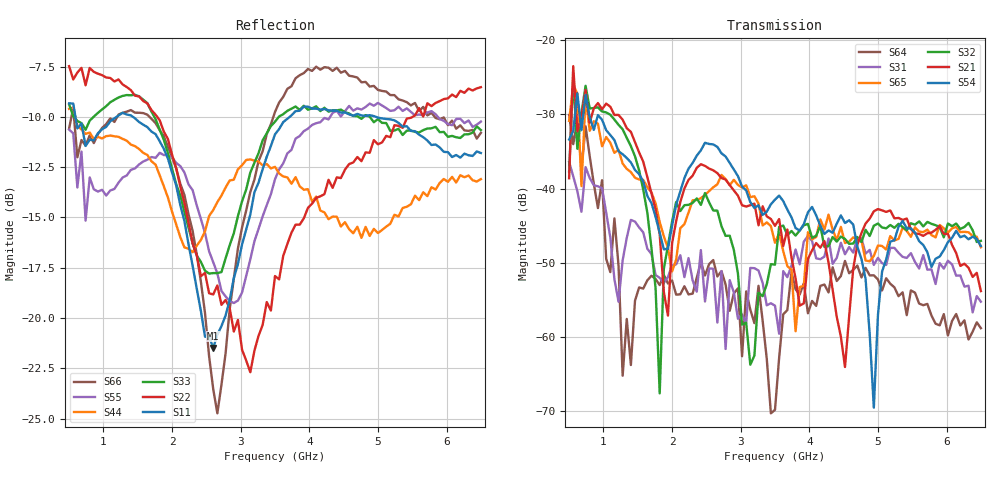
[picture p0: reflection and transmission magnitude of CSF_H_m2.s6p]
!Keysight Technologies,M9804A,MY58100912,A.14.10.03
!Date: Thursday, April 27, 2023 10:28:33
!Correction: S11(C  6-Port  )
!S12(C  6-Port  )
!S13(C  6-Port  )
!S14(C  6-Port  )
!S15(C  6-Port  )
!S16(C  6-Port  )
!S21(C  6-Port  )
!S22(C  6-Port  )
!S23(C  6-Port  )
!S24(C  6-Port  )
!S25(C  6-Port  )
!S26(C  6-Port  )
!S31(C  6-Port  )
!S32(C  6-Port  )
!S33(C  6-Port  )
!S34(C  6-Port  )
!S35(C  6-Port  )
!S36(C  6-Port  )
!S41(C  6-Port  )
!S42(C  6-Port  )
!S43(C  6-Port  )
!S44(C  6-Port  )
!S45(C  6-Port  )
!S46(C  6-Port  )
!S51(C  6-Port  )
!S52(C  6-Port  )
!S53(C  6-Port  )
!S54(C  6-Port  )
!S55(C  6-Port  )
!S56(C  6-Port  )
!S61(C  6-Port  )
!S62(C  6-Port  )
!S63(C  6-Port  )
!S64(C  6-Port  )
!S65(C  6-Port  )
!S66(C  6-Port  )
!S6P File: Measurement: :
# Hz S  RI  R 50
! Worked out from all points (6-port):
!   101 points, 500 MHz to 6.5 GHz, reference 50 ohm
!   strongest paths, dB at 500 MHz, 2 GHz, 3.5 GHz, 5 GHz, 6.5 GHz:
!     S54: -33.4, -45.0, -41.5, -57.1, -47.8
!     S21: -38.6, -47.4, -45.0, -42.8, -53.8
!     S32: -37.7, -44.5, -50.3, -44.7, -47.0
!     S65: -30.9, -51.2, -47.3, -47.7, -47.9
!     S31: -36.4, -50.4, -55.8, -49.3, -55.2
!     S64: -30.1, -52.4, -69.8, -52.3, -58.8
!   lowest |S11| = -21.5 dB at 2.6 GHz (marker M1), VSWR 1.18, Z = 42.5 + j2.13 ohm
!   |S11| at or under -10 dB: 592.3 MHz to 1.19 GHz (597.9 MHz wide, 67.1 % of centre); 1.432 GHz to 3.713 GHz (2.281 GHz wide, 88.7 % of centre); 4.972 GHz to end of sweep
